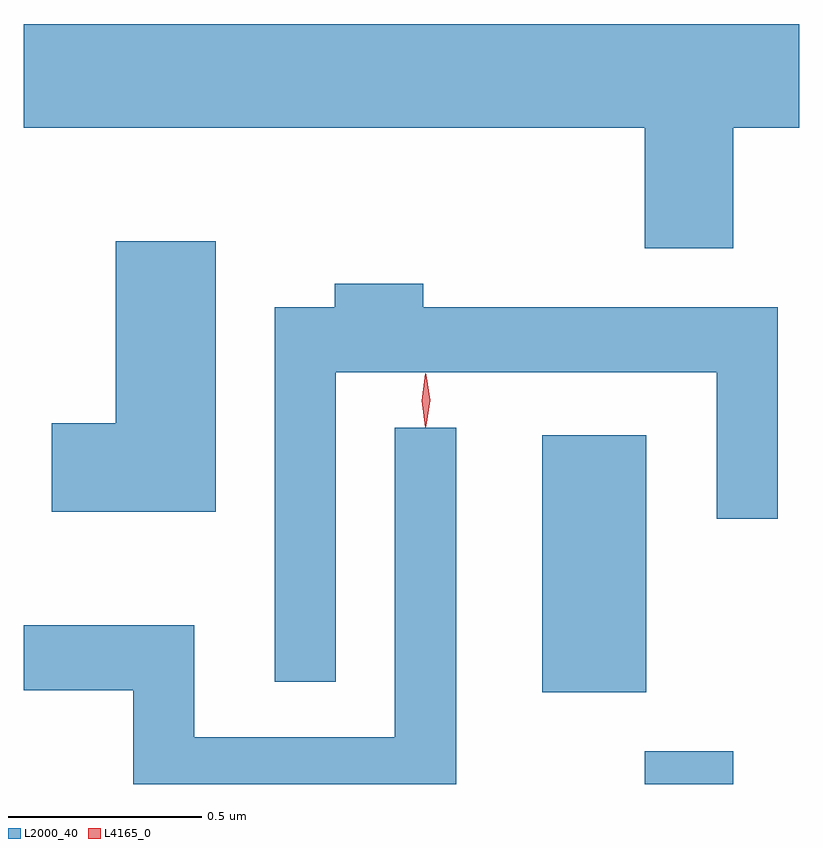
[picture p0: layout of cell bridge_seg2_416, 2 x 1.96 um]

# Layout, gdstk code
import gdstk
lib = gdstk.Library(unit=1e-6, precision=1e-09)
def R(c, l, rs):  # rectangles x0, y0, x1, y1
    for r in rs: c.add(gdstk.rectangle(r[:2], r[2:], *l))
def P(c, l, *ps):  # polygons
    for p in ps: c.add(gdstk.Polygon(p, *l))
L2000_40 = (2000, 40)
L4165_0 = (4165, 0)

bridge_seg2_416 = lib.new_cell('bridge_seg2_416')
R(bridge_seg2_416, L2000_40, [(625.111,1013.324,625.339,1013.409), (624.846,1013.561,625.114,1014.224)])
P(bridge_seg2_416, L2000_40, [(625.339,1015.016),(625.509,1015.016),(625.509,1015.284),(623.509,1015.284),(623.509,1015.016),(625.111,1015.016),(625.111,1014.706),(625.339,1014.706)],
  [(624.004,1014.724),(623.746,1014.724),(623.746,1014.254),(623.581,1014.254),(623.581,1014.026),(624.004,1014.026)],
  [(624.314,1014.386),(625.296,1014.386),(625.296,1014.008),(625.454,1014.008),(625.454,1014.554),(624.539,1014.554),(624.539,1014.614),(624.311,1014.614),(624.311,1014.554),(624.156,1014.554),(624.156,1013.588),(624.314,1013.588)],
  [(624.624,1014.243),(624.466,1014.243),(624.466,1013.444),(623.949,1013.444),(623.949,1013.734),(623.509,1013.734),(623.509,1013.566),(623.791,1013.566),(623.791,1013.324),(624.624,1013.324)])
P(bridge_seg2_416, L4165_0, [(624.547,1014.247),(624.546,1014.248),(624.537,1014.314),(624.546,1014.38),(624.547,1014.381),(624.547,1014.38),(624.557,1014.314),(624.547,1014.248)],
  [(624.545,1014.244),(624.535,1014.313),(624.545,1014.382),(624.546,1014.383),(624.546,1014.382),(624.556,1014.313),(624.546,1014.244),(624.546,1014.244)])

lib.write_gds('bridge_seg2_416.gds')
